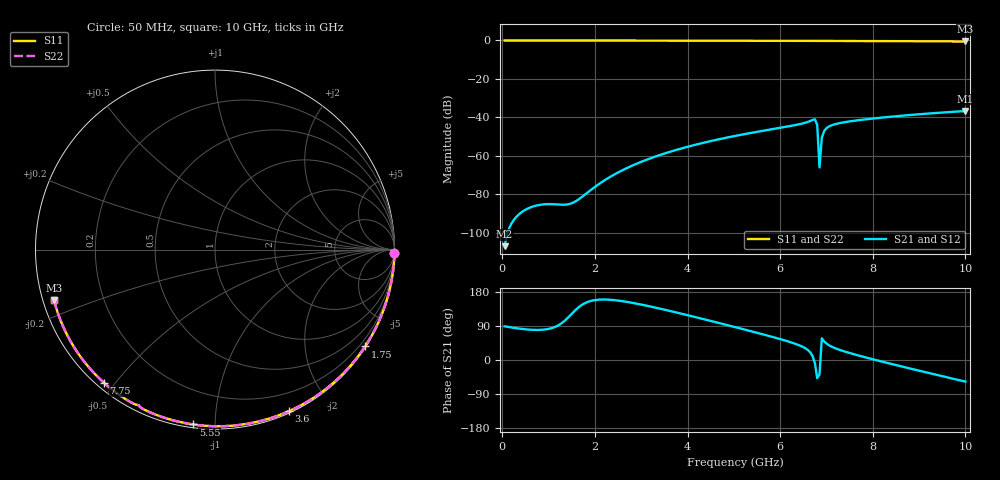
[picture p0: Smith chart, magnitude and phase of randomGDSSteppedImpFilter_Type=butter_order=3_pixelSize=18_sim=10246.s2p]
! freq	dB(S11)	phase(S11)	dB(S12)	phase(S12)
!  dB(S21)	phase(S21)	dB(S22)	phase(S22)
!S-par simulation data
#  GHz  S  DB  R 50
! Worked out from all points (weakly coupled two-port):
!   200 points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, 50 MHz to 10 GHz, reference 50 ohm
!   highest |S21| = -36.75 dB at 10 GHz (marker M1); lowest = -107.1 dB at 50 MHz (marker M2)
!   lowest |S11| = -0.5 dB at 10 GHz (marker M3), VSWR 32.46, Z = 1.58 - j7.69 ohm
!   |S11| at or under -10 dB: nowhere
!   |S22| runs from -0.5 to 0.0 dB; largest |S21 - S12| = 0
!   S11 on the Smith chart (normalised r, x): 50 MHz: open; 1.75 GHz: 0.03, -3.40; 3.6 GHz: 0.02, -1.55; 5.55 GHz: 0.02, -0.88; 7.75 GHz: 0.02, -0.47; 10 GHz: 0.03, -0.15
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0.05  -0.00 -1.0  -107.12 88.9  -107.12 88.9  -0.00 -1.0
0.85  -0.02 -16.1  -85.45 79.7  -85.45 79.7  -0.02 -16.1
1.75  -0.04 -32.8  -80.92 147.7  -80.92 147.7  -0.04 -32.8
1.8  -0.04 -33.7  -79.97 150.9  -79.97 150.9  -0.04 -33.7
2.15  -0.05 -40.1  -73.73 159.6  -73.73 159.6  -0.05 -40.1
2.55  -0.06 -47.3  -68.10 156.0  -68.10 156.0  -0.06 -47.3
3.4  -0.08 -62.1  -59.68 135.7  -59.68 135.7  -0.08 -62.1
3.6  -0.09 -65.5  -58.13 130.0  -58.13 130.0  -0.09 -65.5
5.05  -0.14 -89.3  -49.60 86.1  -49.60 86.1  -0.14 -89.3
5.55  -0.16 -97.1  -47.36 70.2  -47.36 70.2  -0.16 -97.1
6.4  -0.20 -110.1  -43.69 39.4  -43.69 39.4  -0.20 -110.1
6.7  -0.23 -114.7  -41.39 10.5  -41.39 10.5  -0.23 -114.7
6.75  -0.26 -115.5  -41.07 -8.4  -41.07 -8.4  -0.26 -115.5
6.8  -0.30 -116.1  -44.00 -47.9  -44.00 -47.9  -0.30 -116.1
6.85  -0.29 -116.5  -66.10 -38.1  -66.10 -38.1  -0.29 -116.5
6.9  -0.26 -117.2  -50.64 57.3  -50.64 57.3  -0.26 -117.2
6.95  -0.26 -118.0  -47.18 49.2  -47.18 49.2  -0.26 -118.0
7  -0.25 -118.8  -45.71 43.5  -45.71 43.5  -0.25 -118.8
7.25  -0.26 -122.5  -43.22 28.2  -43.22 28.2  -0.26 -122.5
7.75  -0.30 -129.8  -41.34 9.9  -41.34 9.9  -0.30 -129.8
8.35  -0.35 -138.5  -39.79 -8.8  -39.79 -8.8  -0.35 -138.5
10  -0.54 -162.5  -36.75 -57.0  -36.75 -57.0  -0.54 -162.5
